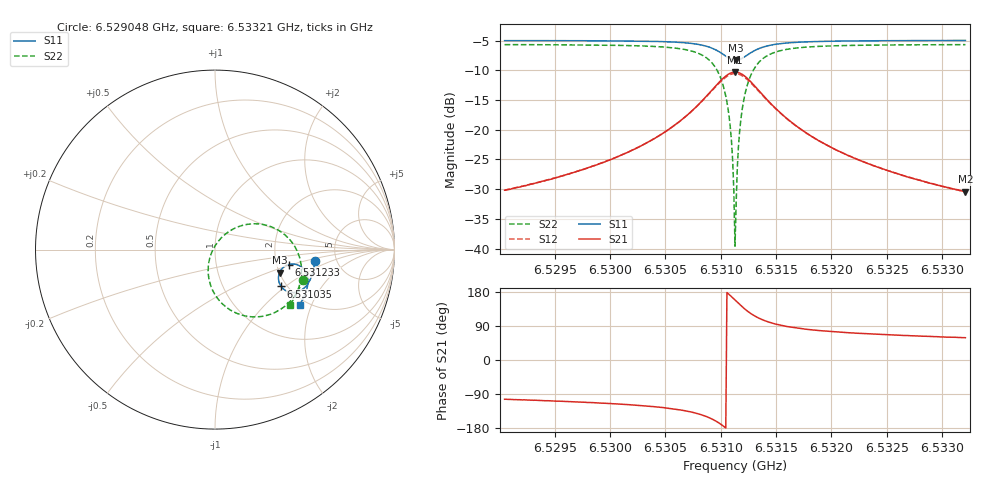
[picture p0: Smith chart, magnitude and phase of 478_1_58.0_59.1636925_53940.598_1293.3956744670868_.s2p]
#  HZ  S  RI  R  50.00
! Rohde & Schwarz Vector Network Analyzer
! Rohde-Schwarz,ZNB20-2Port,1311601062101988,3.16
! Created: UTC 3/21/2024, 1:11:45 AM
! freq[Hz]  re:S11  im:S11  re:S21  im:S21  re:S12  im:S12  re:S22  im:S22
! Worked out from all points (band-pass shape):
!   401 points, 6.529048 GHz to 6.53321 GHz, reference 50 ohm
!   highest |S21| = -10.31 dB at 6.531129 GHz (marker M1); lowest = -30.4 dB at 6.53321 GHz (marker M2)
!   |S21| within 3 dB of the highest: 6.530922 GHz to 6.531339 GHz (416 kHz wide, 0.00637 % of centre)
!   lowest |S11| = -8.4 dB at 6.531139 GHz (marker M3), VSWR 2.24, Z = 100 - j30.1 ohm
!   |S11| at or under -10 dB: nowhere
!   |S22| runs from -39.6 to -5.7 dB; largest |S21 - S12| = 0.012
!   S11 on the Smith chart (normalised r, x): 6.529048 GHz: 3.43, -0.63; 6.531035 GHz: 1.86, -0.93; 6.531233 GHz: 2.34, -0.47; 6.53321 GHz: 1.82, -1.64
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6.5290475e9  0.5574 -0.0633  -0.00729 -0.0301  -0.00781 -0.0299  0.4917 -0.1668
6.5297448e9  0.5467 -0.1211  -0.0166 -0.0428  -0.0175 -0.0424  0.461 -0.2317
6.530442e9  0.518 -0.1897  -0.0502 -0.0733  -0.0523 -0.072  0.3801 -0.3226
6.5306814e9  0.4909 -0.2194  -0.0898 -0.0924  -0.0924 -0.0895  0.3 -0.3632
6.5308583e9  0.4472 -0.2385  -0.1573 -0.0987  -0.1596 -0.0924  0.1746 -0.3708
6.5309623e9  0.4029 -0.2329  -0.2263 -0.0724  -0.2256 -0.0633  0.0571 -0.3165
6.5310352e9  0.3686 -0.2056  -0.2771 -0.0144  -0.2715 -0.0047  -0.0203 -0.2105
6.5310768e9  0.3559 -0.1779  -0.2929 0.0382  -0.2842 0.0461  -0.0382 -0.1203
6.5310976e9  0.3536 -0.1616  -0.2935 0.0681  -0.2836 0.0744  -0.0345 -0.0709
6.531108e9  0.3539 -0.1531  -0.2918 0.0833  -0.2814 0.0888  -0.0287 -0.0461
6.5311184e9  0.355 -0.1447  -0.2884 0.0984  -0.2777 0.1027  -0.0208 -0.0219
6.5311289e9  0.3571 -0.1364  -0.2834 0.1132  -0.2727 0.1166  -0.0103 0.00169
6.5311393e9  0.3599 -0.1284  -0.277 0.1275  -0.2662 0.1298  0.00236 0.0239
6.5311497e9  0.3636 -0.1208  -0.2693 0.1409  -0.2587 0.1425  0.0172 0.0447
6.5311601e9  0.3681 -0.1135  -0.2602 0.1533  -0.2499 0.1541  0.0337 0.064
6.5311809e9  0.3791 -0.1011  -0.2394 0.1751  -0.2299 0.1742  0.0713 0.0965
6.5312329e9  0.4122 -0.083  -0.1793 0.2071  -0.1727 0.2041  0.1762 0.1401
6.5313058e9  0.4551 -0.0835  -0.104 0.2091  -0.1007 0.2061  0.3029 0.1308
6.5314098e9  0.4921 -0.106  -0.0393 0.1781  -0.0379 0.1764  0.4086 0.0642
6.5318261e9  0.5174 -0.186  0.0161 0.0858  0.0169 0.0854  0.4818 -0.128
6.5325233e9  0.4979 -0.2571  0.0179 0.0411  0.0186 0.0409  0.4538 -0.245
6.5332102e9  0.4709 -0.3082  0.0156 0.0257  0.0161 0.0254  0.4191 -0.3061
